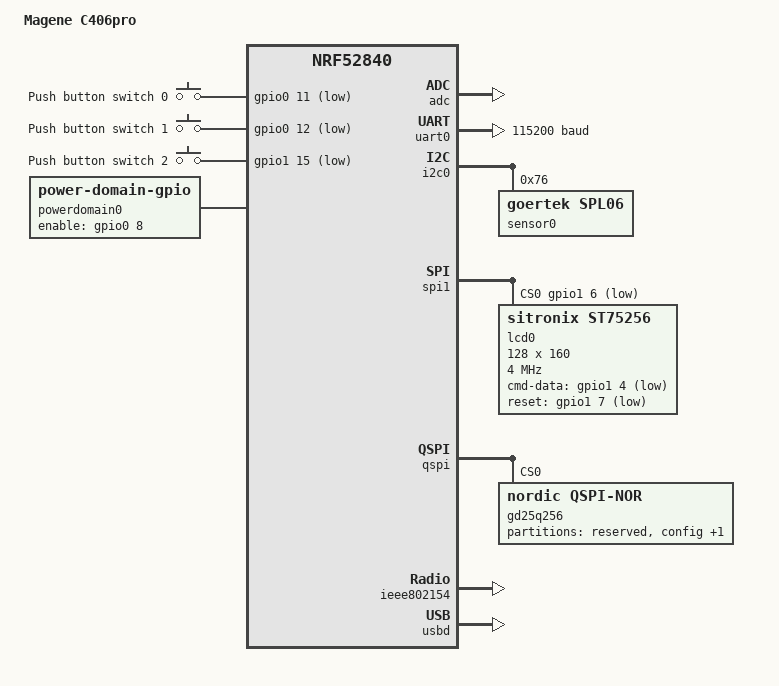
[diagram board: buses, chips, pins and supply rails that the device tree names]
/*
 * Copyright (c) 2017 Linaro Limited
 *
 * SPDX-License-Identifier: Apache-2.0
 */

/dts-v1/;
#include <nordic/nrf52840_qiaa.dtsi>
#include "C406pro-pinctrl.dtsi"
#include <zephyr/dt-bindings/input/input-event-codes.h>

/ {
	model = "Magene C406pro";
	compatible = "C406pro";

	chosen {
		zephyr,console = &uart0;
		zephyr,shell-uart = &uart0;
		zephyr,uart-mcumgr = &uart0;
		zephyr,bt-mon-uart = &uart0;
		zephyr,bt-c2h-uart = &uart0;
		zephyr,sram = &sram0;
		zephyr,flash = &flash0;
		zephyr,code-partition = &slot0_partition;
		zephyr,ieee802154 = &ieee802154;
		zephyr,display = &lcd0;
	};

	buttons {
		compatible = "gpio-keys";
		button0: button_0 {
			gpios = <&gpio0 11 (GPIO_PULL_UP | GPIO_ACTIVE_LOW)>;
			label = "Push button switch 0";
			zephyr,code = <INPUT_KEY_0>;
		};
		button1: button_1 {
			gpios = <&gpio0 12 (GPIO_PULL_UP | GPIO_ACTIVE_LOW)>;
			label = "Push button switch 1";
			zephyr,code = <INPUT_KEY_1>;
		};
		button2: button_2 {
			gpios = <&gpio1 15 (GPIO_PULL_UP | GPIO_ACTIVE_LOW)>;
			label = "Push button switch 2";
			zephyr,code = <INPUT_KEY_2>;
		};
	};

	powerdomain0: powerdomain0 {
		compatible = "power-domain-gpio";
		status = "okay";
		enable-gpios = <&gpio0 8 GPIO_ACTIVE_HIGH>;
		startup-delay-us = <10000>;
		off-on-delay-us = <0>;
	};

	/* These aliases are provided for compatibility with samples */
	aliases {
		sw0 = &button0;
		sw1 = &button1;
		sw2 = &button2;
		mcuboot-button0 = &button0;
		watchdog0 = &wdt0;
		spi-flash0 = &gd25q256;
	};
};

&adc {
	status = "okay";
};

&uicr {
	gpio-as-nreset;
};

&gpiote {
	status = "okay";
};

&gpio0 {
	status = "okay";
};

&gpio1 {
	status = "okay";
};

&uart0 {
	compatible = "nordic,nrf-uarte";
	status = "okay";
	current-speed = <115200>;
	pinctrl-0 = <&uart0_default>;
	pinctrl-1 = <&uart0_sleep>;
	pinctrl-names = "default", "sleep";
};

// &uart1 {
// 	current-speed = <115200>;
// 	pinctrl-0 = <&uart1_default>;
// 	pinctrl-1 = <&uart1_sleep>;
// 	pinctrl-names = "default", "sleep";
// };

&i2c0 {
	compatible = "nordic,nrf-twi";
	status = "okay";
	pinctrl-0 = <&i2c0_default>;
	pinctrl-1 = <&i2c0_sleep>;
	pinctrl-names = "default", "sleep";

	sensor0:sensor@76 {
		compatible = "goertek,spl06";
		reg = <0x76>;
		status = "okay";
		prs_cfg = [26];
		tmp_cfg = [a2];
		cfg_reg = [04];
		meas_cfg = [07];
		power-domain = <&powerdomain0>;
	};
};


// &i2c1 {
// 	compatible = "nordic,nrf-twi";
// 	/* Cannot be used together with spi1. */
// 	/* status = "okay"; */
// 	pinctrl-0 = <&i2c1_default>;
// 	pinctrl-1 = <&i2c1_sleep>;
// 	pinctrl-names = "default", "sleep";
// };

// &pwm0 {
// 	status = "okay";
// 	pinctrl-0 = <&pwm0_default>;
// 	pinctrl-1 = <&pwm0_sleep>;
// 	pinctrl-names = "default", "sleep";
// };

// &spi0 {
// 	compatible = "nordic,nrf-spi";
// 	/* Cannot be used together with i2c0. */
// 	/* status = "okay"; */
// 	pinctrl-0 = <&spi0_default>;
// 	pinctrl-1 = <&spi0_sleep>;
// 	pinctrl-names = "default", "sleep";
// };

&spi1 {
	compatible = "nordic,nrf-spi";
	status = "okay";
	pinctrl-0 = <&spi1_default>;
	pinctrl-1 = <&spi1_sleep>;
	pinctrl-names = "default", "sleep";
	cs-gpios = <&gpio1 6 GPIO_ACTIVE_LOW>;

	lcd0: lcd@0 {
		compatible = "sitronix,st75256";
		reg = <0>;
		status = "okay";
		spi-max-frequency = <4000000>;
		cmd-data-gpios = <&gpio1 4 GPIO_ACTIVE_LOW>;
		reset-gpios = <&gpio1 7 GPIO_ACTIVE_LOW>;
		width = <128>;
		height = <160>;
		auto_read = [9f];
		analog_circuit = [00 01 00];
		gray_level = [01 03 05 07 09 0b 0d 10 11 13 15 17 19 1b 1d 1f];
		data_scan = [00];
		display_control = [00 9f 20];
		color_mode = [10];
		volume_control = [18 05];
		power_control = [0b];
		row_range = [00 7f];
		col_range = [00 13];
		power-domain = <&powerdomain0>;
	};
};

// &spi2 {
// 	compatible = "nordic,nrf-spi";
// 	status = "disabled";
// 	pinctrl-0 = <&spi2_default>;
// 	pinctrl-1 = <&spi2_sleep>;
// 	pinctrl-names = "default", "sleep";
// };


&qspi {
	status = "okay";
	pinctrl-0 = <&qspi_default>;
	pinctrl-1 = <&qspi_sleep>;
	pinctrl-names = "default", "sleep";
	gd25q256: gd25q256@0 {
		compatible = "nordic,qspi-nor";
		reg = <0>;
		power-domain = <&powerdomain0>;

		jedec-id = [c8 40 19];
		size = <268435456>;

		sck-frequency = <32000000>;

		writeoc = "pp4o";
		readoc = "read4io";

		address-size-32;
		enter-4byte-addr = <0x01>;

		quad-enable-requirements = "S2B1v1";

		// has-dpd;
		// t-enter-dpd = <10000>;
		// t-exit-dpd = <35000>;

		partitions {
			compatible = "fixed-partitions";
			#address-cells = <1>;
			#size-cells = <1>;

			reserved_partition: partition@0 {
				label = "reserved";
				reg = <0x00000000 0x00010000>; /* 64KB */
			};

			config_partition: partition@10000 {
				label = "config";
				reg = <0x00010000 0x000F0000>; /* 960KB */
			};

			littlefs_partition: partition@100000 {
				label = "littlefs_partition";
				reg = <0x00100000 0x01F00000>; /* 31MB */
			};
		};
	};
};


&ieee802154 {
	status = "okay";
};

&flash0 {

	partitions {
		compatible = "fixed-partitions";
		#address-cells = <1>;
		#size-cells = <1>;

		boot_partition: partition@0 {
			label = "mcuboot";
			reg = <0x00000000 0x0000C000>;
		};
		slot0_partition: partition@c000 {
			label = "image-0";
			reg = <0x0000C000 0x00076000>;
		};
		slot1_partition: partition@82000 {
			label = "image-1";
			reg = <0x00082000 0x00076000>;
		};

		/*
		 * The flash starting at 0x000f8000 and ending at
		 * 0x000fffff is reserved for use by the application.
		 */

		/*
		 * Storage partition will be used by FCB/LittleFS/NVS
		 * if enabled.
		 */
		storage_partition: partition@f8000 {
			label = "storage";
			reg = <0x000f8000 0x00008000>;
		};
	};
};

zephyr_udc0: &usbd {
	compatible = "nordic,nrf-usbd";
	status = "okay";
};
